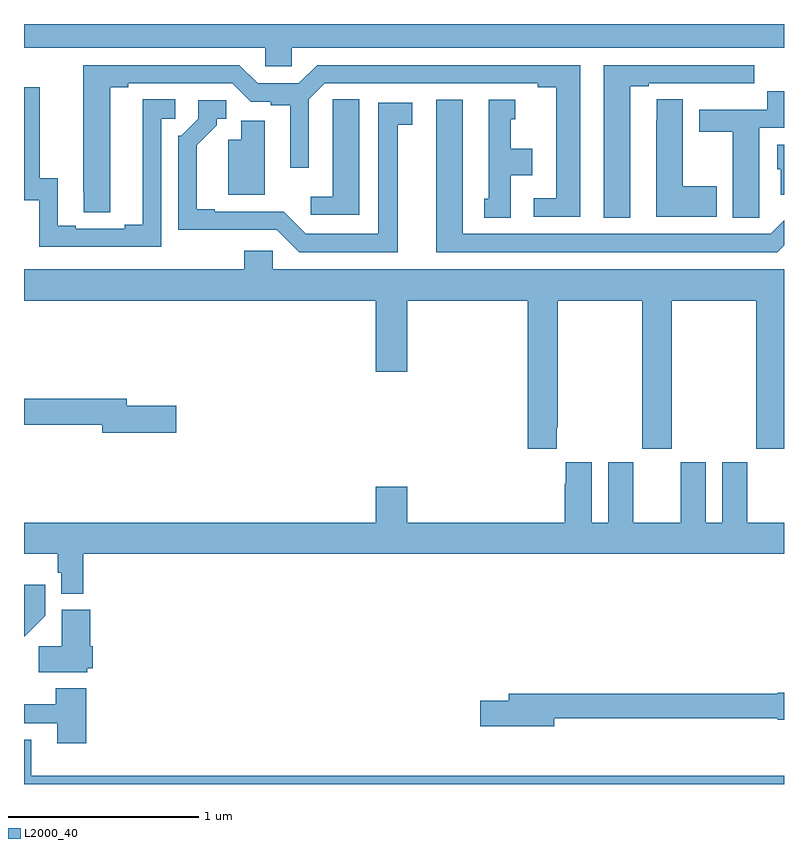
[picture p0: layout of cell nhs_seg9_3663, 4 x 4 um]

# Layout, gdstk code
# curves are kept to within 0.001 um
import gdstk
lib = gdstk.Library(unit=1e-6, precision=1e-09)
def P(c, l, *ps):  # polygons
    for p in ps: c.add(gdstk.Polygon(p, *l))
L2000_40 = (2000, 40)

nhs_seg9_3663 = lib.new_cell('nhs_seg9_3663')
P(nhs_seg9_3663, L2000_40, [(320.409,1240.376),(323,1240.376),(323,1240.5),(319,1240.5),(319,1240.376),(320.271,1240.376),(320.271,1240.278),(320.409,1240.278)],
  [(322.192,1240.173),(322.288,1240.173),(322.288,1240.188),(322.564,1240.188),(322.564,1240.187),(322.73,1240.187),(322.73,1240.188),(322.843,1240.188),(322.843,1240.284),(322.052,1240.284),(322.052,1239.481),(322.192,1239.481)],
  [(321.928,1240.284),(320.543,1240.284),(320.447,1240.188),(320.229,1240.188),(320.133,1240.284),(319.313,1240.284),(319.314,1239.508),(319.453,1239.508),(319.453,1240.168),(319.549,1240.168),(319.549,1240.188),(320.097,1240.188),(320.193,1240.092),(320.298,1240.092),(320.298,1240.072),(320.402,1240.072),(320.402,1239.744),(320.499,1239.744),(320.499,1240.104),(320.583,1240.188),(321.704,1240.188),(321.704,1240.168),(321.8,1240.168),(321.8,1239.582),(321.684,1239.582),(321.684,1239.486),(321.928,1239.486)],
  [(319.722,1240.002),(319.795,1240.002),(319.795,1240.103),(319.625,1240.103),(319.625,1239.443),(319.529,1239.443),(319.529,1239.423),(319.273,1239.423),(319.273,1239.438),(319.177,1239.438),(319.177,1239.689),(319.083,1239.689),(319.083,1240.167),(319,1240.167),(319,1239.573),(319.08,1239.573),(319.08,1239.327),(319.722,1239.327)],
  [(322.869,1239.592),(322.87,1239.592),(322.87,1239.954),(323,1239.954),(323,1240.147),(322.912,1240.147),(322.912,1240.05),(322.553,1240.05),(322.553,1239.934),(322.73,1239.934),(322.73,1239.481),(322.869,1239.481)],
  [(322.645,1239.645),(322.468,1239.645),(322.468,1240.103),(322.329,1240.103),(322.329,1239.995),(322.328,1239.995),(322.328,1239.485),(322.645,1239.485)],
  [(320.764,1240.103),(320.625,1240.103),(320.625,1239.995),(320.624,1239.995),(320.624,1239.592),(320.508,1239.592),(320.508,1239.495),(320.764,1239.495)],
  [(323,1239.335),(323,1239.467),(322.929,1239.396),(321.31,1239.396),(321.31,1240.102),(321.17,1240.102),(321.17,1239.3),(322.965,1239.3)],
  [(321.562,1239.704),(321.676,1239.704),(321.676,1239.844),(321.562,1239.844),(321.562,1239.999),(321.586,1239.999),(321.586,1240.102),(321.446,1240.102),(321.446,1239.579),(321.422,1239.579),(321.422,1239.481),(321.562,1239.481)],
  [(320.968,1239.97),(321.043,1239.97),(321.043,1240.086),(320.864,1240.086),(320.864,1239.396),(320.484,1239.396),(320.367,1239.513),(320.005,1239.513),(320.005,1239.526),(319.909,1239.526),(319.909,1239.862),(320.014,1239.967),(320.014,1240.002),(320.064,1240.002),(320.064,1240.098),(319.917,1240.098),(319.917,1240.002),(319.827,1239.912),(319.812,1239.912),(319.812,1239.416),(320.331,1239.417),(320.448,1239.3),(320.968,1239.3)],
  [(320.266,1239.99),(320.144,1239.99),(320.144,1239.892),(320.075,1239.892),(320.075,1239.602),(320.266,1239.602)],
  [(323,1239.865),(322.964,1239.865),(322.964,1239.735),(322.982,1239.735),(322.982,1239.602),(323,1239.602)],
  [(321.805,1238.377),(321.81,1238.377),(321.81,1239.044),(322.255,1239.044),(322.255,1238.265),(322.41,1238.265),(322.41,1239.044),(322.855,1239.044),(322.855,1238.265),(323,1238.265),(323,1239.208),(320.31,1239.208),(320.31,1239.306),(320.159,1239.306),(320.159,1239.208),(319,1239.208),(319,1239.044),(320.852,1239.044),(320.852,1238.67),(321.016,1238.67),(321.016,1239.044),(321.65,1239.044),(321.65,1238.265),(321.805,1238.265)],
  [(319.801,1238.492),(319.54,1238.492),(319.54,1238.528),(319,1238.528),(319,1238.392),(319.412,1238.392),(319.412,1238.35),(319.801,1238.35)],
  [(319.313,1237.712),(323,1237.712),(323,1237.876),(322.807,1237.876),(322.807,1238.194),(322.676,1238.194),(322.676,1237.876),(322.588,1237.876),(322.588,1238.194),(322.457,1238.194),(322.457,1237.876),(322.207,1237.876),(322.207,1238.194),(322.076,1238.194),(322.076,1237.876),(321.988,1237.876),(321.988,1238.194),(321.851,1238.194),(321.851,1238.081),(321.845,1238.081),(321.845,1237.876),(321.016,1237.876),(321.016,1238.065),(320.852,1238.065),(320.852,1237.876),(319,1237.876),(319,1237.712),(319.177,1237.712),(319.177,1237.611),(319.197,1237.611),(319.197,1237.502),(319.313,1237.502)],
  [(319.112,1237.386),(319.112,1237.549),(319,1237.549),(319,1237.274)],
  [(319.332,1237.11),(319.361,1237.11),(319.361,1237.224),(319.349,1237.224),(319.349,1237.417),(319.199,1237.417),(319.199,1237.226),(319.078,1237.226),(319.078,1237.088),(319.332,1237.088)],
  [(319.328,1237.003),(319.168,1237.003),(319.168,1236.919),(319,1236.919),(319,1236.819),(319.175,1236.819),(319.175,1236.714),(319.328,1236.714)],
  [(321.79,1236.846),(322.968,1236.846),(322.968,1236.838),(323,1236.838),(323,1236.98),(322.968,1236.98),(322.968,1236.974),(321.551,1236.974),(321.551,1236.938),(321.402,1236.938),(321.402,1236.803),(321.79,1236.803)],
  [(323,1236.544),(319.039,1236.544),(319.039,1236.734),(319,1236.734),(319,1236.5),(323,1236.5)])

lib.write_gds('nhs_seg9_3663.gds')
